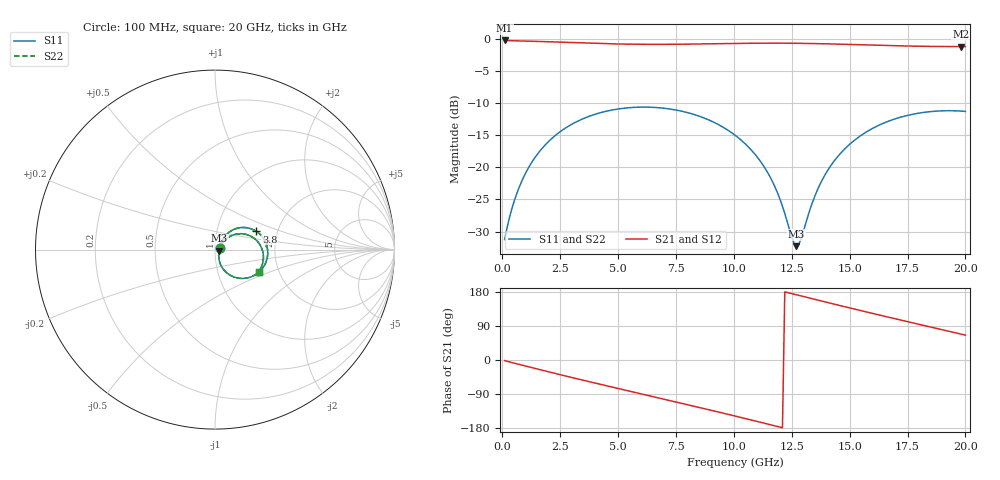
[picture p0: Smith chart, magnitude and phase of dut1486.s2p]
! Touchstone file exported from HFSS 2026.1.0
!  File:  C:/ffzhzh/LocalFiles/Ansys_Project_Files/temp_train_TSV_RDL_1486_1783363729_46376.aedt
!  Generated:  02:59:11 AM Jul  7, 2026
!  Design:  TSV_RDL
!  Project:  temp_train_TSV_RDL_1486_1783363729_46376
! Variables:
!  h_bsmrdl = 2.69um
!  h_ox = 20um
!  h_rdl = 5um
!  h_sub = 69.14um
!  h_tmrdl = 4.75um
!  h_tsv = 69.14um
!  h_via = 3um
!  l_bsmrdl = 295.17um
!  l_sub = 5057.97um
!  l_tmrdl = 918.56um
!  m_sub = 200um
!  pitch = 30.76um
!  r_tsv = 7.47um
!  s_tmrdl = 10um
!  w_bsmrdl = 10.6um
!  w_sub = 500um
!  w_tmrdl = 22.14um
!  x_tsv_center1 = 929.63um
!  x_tsv_center2 = 1235.4um
!  x_tsv_center3 = 2176.1um
!  x_tsv_center4 = 2481.87um
!  x_tsv_center5 = 3422.57um
!  x_tsv_center6 = 3728.34um
# GHz S MA R 50.000000
! Terminal data exported
! Port[1] = TM_RDL1_1_T1
! Port[2] = TM_RDL5_1_T1
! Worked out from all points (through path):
!   200 points, 100 MHz to 20 GHz, reference 50 ohm
!   highest |S21| = -0.22 dB at 100 MHz (marker M1); lowest = -1.2 dB at 19.8 GHz (marker M2)
!   group delay of S21, straight-line fit = 40.8 ps
!   lowest |S11| = -32.3 dB at 12.7 GHz (marker M3), VSWR 1.05, Z = 52.4 - j0.672 ohm
!   |S11| at or under -10 dB: start of sweep to end of sweep
!   |S22| runs from -32.3 to -10.6 dB; largest |S21 - S12| = 1.7e-14
!   S11 on the Smith chart (normalised r, x): 100 MHz: 1.05, +0.02; 3.8 GHz: 1.55, +0.34; 20 GHz: 1.58, -0.42
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0.1  0.02734 21.1  0.9747 -1.7  0.9747 -1.7  0.02734 21.1
! Gamma 0 0 0 0
! Port Impedance 50 0 50 0
0.6  0.06059 50.4  0.9683 -9.6  0.9683 -9.6  0.06059 50.4
1.3  0.1113 52.2  0.961 -20.5  0.961 -20.5  0.1113 52.2
2.3  0.1778 42.7  0.9478 -35.7  0.9478 -35.7  0.1778 42.7
3.5  0.2398 27.7  0.9309 -53.5  0.9309 -53.5  0.2398 27.7
3.8  0.2518 23.7  0.9271 -57.9  0.9271 -57.9  0.2518 23.7
5.3  0.2896 4.1  0.913 -79.3  0.913 -79.3  0.2896 4.1
6.8  0.2912 -15.5  0.9091 -100.6  0.9091 -100.6  0.2912 -15.5
8.4  0.2542 -36.3  0.9144 -123.5  0.9144 -123.5  0.2542 -36.3
10.1  0.1753 -57.5  0.9242 -148.5  0.9242 -148.5  0.1754 -57.5
11.5  0.08845 -69.5  0.9287 -169.7  0.9287 -169.7  0.08844 -69.5
11.9  0.06234 -68.3  0.9286 -175.7  0.9286 -175.7  0.06233 -68.3
12.5  0.02864 -41.9  0.9273 175.1  0.9273 175.1  0.02861 -41.9
12.7  0.0243 -15.3  0.9266 172.1  0.9266 172.1  0.02427 -15.3
12.9  0.02756 12.5  0.9256 169.0  0.9256 169.0  0.02754 12.6
13.4  0.05364 40.2  0.9225 161.5  0.9225 161.5  0.05365 40.2
14  0.09136 43.1  0.9176 152.4  0.9176 152.4  0.09138 43.1
14.7  0.134 38.2  0.9107 141.9  0.9107 141.9  0.1341 38.2
16.7  0.2297 15.1  0.8893 112.6  0.8893 112.6  0.2298 15.1
18.2  0.2681 -3.8  0.8776 91.2  0.8776 91.2  0.2682 -3.9
19.8  0.2745 -24.1  0.8735 68.5  0.8735 68.5  0.2746 -24.1
20  0.2728 -26.6  0.8736 65.7  0.8736 65.7  0.2729 -26.6
